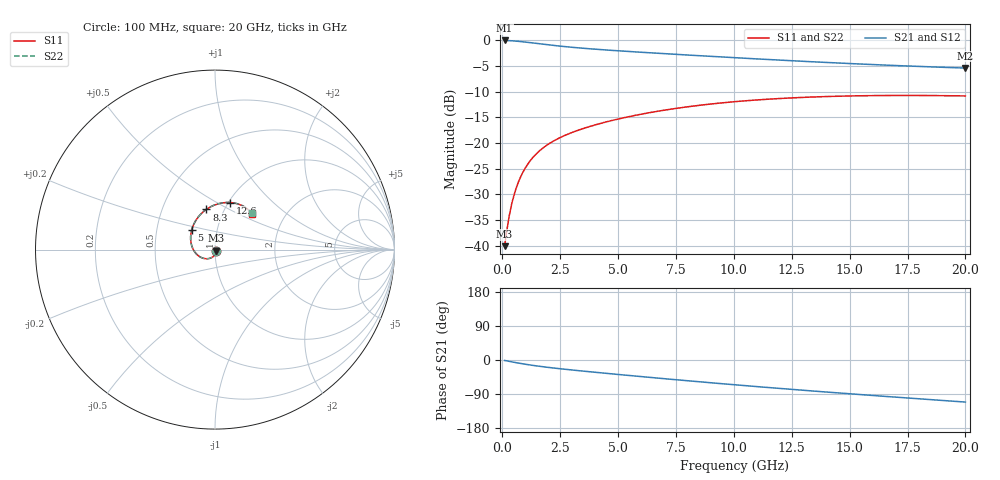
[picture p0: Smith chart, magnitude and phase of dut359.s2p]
! Touchstone file exported from HFSS 2024.1.0
!  File:  C:/UserFiles/LocalFiles/RDL_TSV_Batchsim/temp_RDL_TSV_359_1779639849.aedt
!  Generated:  12:36:29 AM May 25, 2026
!  Design:  RDL_TSV
!  Project:  temp_RDL_TSV_359_1779639849
!  Setup:  Setup1
!  Solution:  Sweep
! Variables:
!  dtsv = 14.08um
!  hbump = 3um
!  htsv = 66.93um
!  ldown = 105.49um
!  lrdl = 251.37um
!  p = 40
!  p1 = 49.89um
!  rhole = 10um
!  subl = 1321.95um
!  t = 450um
!  tdown = 4.51um
!  trdl = 2.21um
!  viad = 10um
!  wdown = 16.46um
!  wrdl = 29.11um
!  xbump = 18um
# GHz S MA R 50.000000
! Terminal data exported
! Port[1] = TM1_1_T1
! Port[2] = TM1_4_T1
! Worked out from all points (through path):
!   200 points, 100 MHz to 20 GHz, reference 50 ohm
!   highest |S21| = -0.07 dB at 100 MHz (marker M1); lowest = -5.4 dB at 20 GHz (marker M2)
!   group delay of S21, straight-line fit = 14.5 ps
!   lowest |S11| = -40.1 dB at 100 MHz (marker M3), VSWR 1.02, Z = 50.8 - j0.645 ohm
!   |S11| at or under -10 dB: start of sweep to end of sweep
!   |S22| runs from -40.1 to -10.7 dB; largest |S21 - S12| = 1.2e-14
!   S11 on the Smith chart (normalised r, x): 100 MHz: 1.02, -0.01; 5 GHz: 0.75, +0.17; 8.3 GHz: 0.82, +0.39; 12.6 GHz: 1.02, +0.58; 20 GHz: 1.36, +0.60
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0.1  0.009914 -39.8  0.9915 -1.2  0.9915 -1.2  0.009914 -39.8
! Gamma 0 0 0 0
! Port Impedance 50 0 50 0
0.2  0.01428 -63.0  0.9899 -2.5  0.9899 -2.5  0.01428 -63.0
0.3  0.01955 -76.7  0.9875 -3.6  0.9875 -3.6  0.01954 -76.7
0.4  0.02512 -86.4  0.9845 -4.8  0.9845 -4.8  0.02512 -86.4
0.5  0.03077 -94.2  0.9808 -6.0  0.9808 -6.0  0.03077 -94.2
0.6  0.03638 -100.7  0.9767 -7.1  0.9767 -7.1  0.03638 -100.7
0.8  0.04723 -112.0  0.967 -9.2  0.967 -9.2  0.04723 -112.0
0.9  0.05241 -117.0  0.9617 -10.2  0.9617 -10.2  0.05241 -117.0
1.1  0.06221 -126.1  0.9503 -12.2  0.9503 -12.2  0.06222 -126.1
1.3  0.07126 -134.4  0.9384 -14.0  0.9384 -14.0  0.07127 -134.4
1.5  0.07958 -142.0  0.9265 -15.8  0.9265 -15.8  0.0796 -142.0
2  0.09766 -158.6  0.898 -19.6  0.898 -19.6  0.09769 -158.6
2.7  0.1183 -177.7  0.8638 -24.4  0.8638 -24.4  0.1184 -177.7
3.5  0.1382 164.6  0.8324 -29.4  0.8324 -29.4  0.1383 164.6
5  0.1707 139.2  0.7867 -38.2  0.7867 -38.2  0.1709 139.2
6.8  0.2048 116.7  0.7423 -48.3  0.7423 -48.3  0.2051 116.7
8.3  0.2291 102.1  0.7092 -56.4  0.7092 -56.4  0.2294 102.1
10.1  0.2525 88.0  0.6728 -65.7  0.6728 -65.7  0.2529 88.0
12.6  0.2748 72.5  0.6279 -78.0  0.6279 -78.0  0.2753 72.5
13.4  0.2796 68.4  0.615 -81.8  0.615 -81.8  0.2801 68.4
16.7  0.2894 54.4  0.5691 -96.8  0.5691 -96.8  0.2899 54.4
20  0.2863 44.5  0.5343 -111.0  0.5343 -111.0  0.2869 44.5
